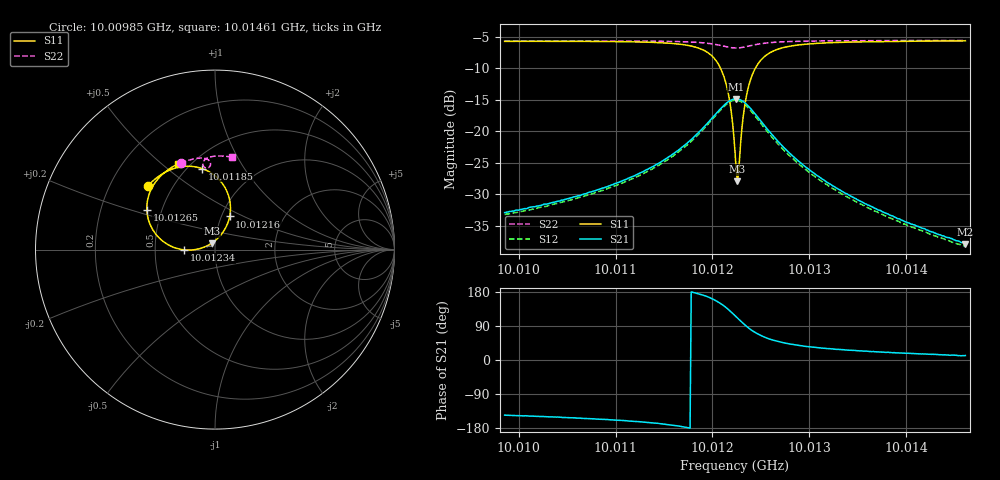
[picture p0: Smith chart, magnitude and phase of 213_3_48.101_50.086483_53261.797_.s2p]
#  HZ  S  RI  R  50.00
! Rohde & Schwarz Vector Network Analyzer
! Rohde-Schwarz,ZNB20-2Port,1311601062101988,3.16
! Created: UTC 12/23/2023, 3:56:00 AM
! freq[Hz]  re:S11  im:S11  re:S21  im:S21  re:S12  im:S12  re:S22  im:S22
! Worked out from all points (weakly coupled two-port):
!   401 points, 10.00985 GHz to 10.01461 GHz, reference 50 ohm
!   highest |S21| = -14.86 dB at 10.01225 GHz (marker M1); lowest = -37.8 dB at 10.01461 GHz (marker M2)
!   lowest |S11| = -27.9 dB at 10.01226 GHz (marker M3), VSWR 1.08, Z = 48.1 + j3.43 ohm
!   |S11| at or under -10 dB: 10.01208 GHz to 10.01244 GHz (360.2 kHz wide, 0.0036 % of centre)
!   |S22| runs from -6.8 to -5.6 dB; largest |S21 - S12| = 0.0089
!   S11 on the Smith chart (normalised r, x): 10.00985 GHz: 0.36, +0.35; 10.01185 GHz: 0.58, +0.67; 10.01216 GHz: 1.09, +0.42; 10.01234 GHz: 0.71, -0.00; 10.01265 GHz: 0.41, +0.23; 10.01461 GHz: 0.43, +0.57
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1.0009854e10  -0.3738 0.3553  -0.0187 -0.0129  -0.0174 -0.0133  -0.1906 0.4822
1.0010651e10  -0.3184 0.4052  -0.0283 -0.0138  -0.0265 -0.0147  -0.1398 0.4999
1.0011449e10  -0.2135 0.4564  -0.0547 -0.0121  -0.0521 -0.0142  -0.0819 0.5102
1.0011853e10  -0.0722 0.4515  -0.0967 0.0085  -0.0938 0.00289  -0.0439 0.5038
1.0012044e10  0.0502 0.3547  -0.1268 0.058  -0.1264 0.0498  -0.026 0.4853
1.0012115e10  0.0838 0.2642  -0.1286 0.094  -0.1297 0.0861  -0.0249 0.4725
1.0012163e10  0.0818 0.185  -0.1188 0.1233  -0.1211 0.1157  -0.0286 0.4637
1.0012198e10  0.06 0.1227  -0.1034 0.1441  -0.1072 0.1365  -0.034 0.4582
1.0012234e10  0.019 0.0664  -0.0819 0.1608  -0.0862 0.1536  -0.041 0.4551
1.0012246e10  0.00102 0.05  -0.0736 0.165  -0.0777 0.1582  -0.0438 0.4545
1.0012258e10  -0.0184 0.0356  -0.0648 0.1682  -0.069 0.1617  -0.0465 0.4543
1.001227e10  -0.039 0.0234  -0.0562 0.1705  -0.0603 0.1641  -0.0491 0.4548
1.0012282e10  -0.0608 0.0136  -0.0474 0.172  -0.0512 0.1658  -0.0521 0.4556
1.0012317e10  -0.1279 -0.00232  -0.0208 0.1713  -0.0255 0.1654  -0.0589 0.4589
1.0012341e10  -0.1715 -0.00158  -0.0044 0.1669  -0.00931 0.1614  -0.0624 0.4625
1.0012389e10  -0.2474 0.0199  0.0224 0.1519  0.0169 0.147  -0.0668 0.471
1.0012448e10  -0.3131 0.0671  0.0425 0.1287  0.0364 0.1248  -0.0673 0.4818
1.0012531e10  -0.3608 0.1385  0.0544 0.0988  0.0484 0.0964  -0.063 0.4936
1.001265e10  -0.3797 0.2207  0.0554 0.0681  0.0503 0.0669  -0.0523 0.5049
1.0013031e10  -0.3476 0.3516  0.0394 0.0269  0.0362 0.0272  -0.0182 0.5183
1.0013828e10  -0.2687 0.4395  0.0205 0.00742  0.019 0.00819  0.0409 0.5212
1.0014614e10  -0.2063 0.4778  0.0126 0.00261  0.0119 0.00322  0.0935 0.5158
